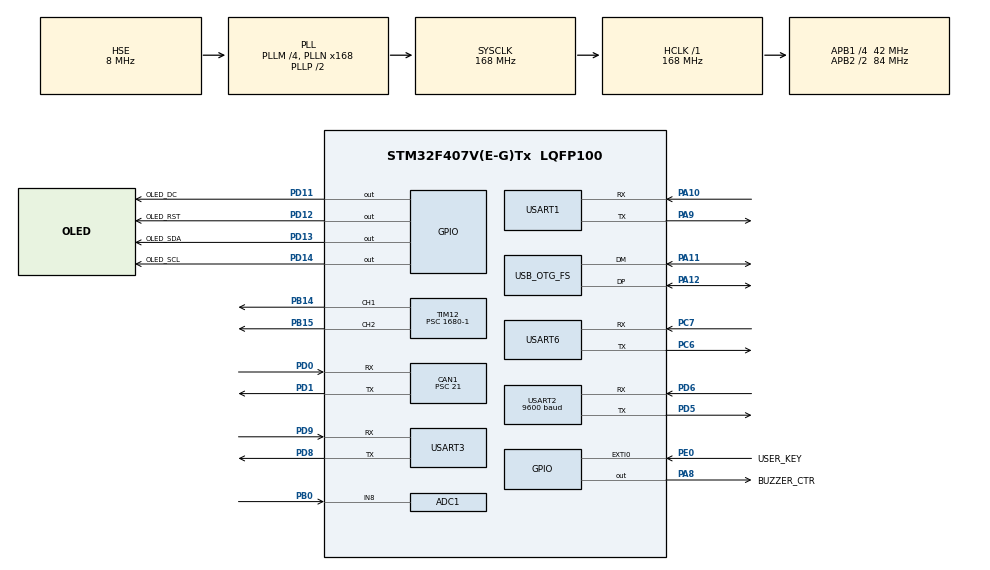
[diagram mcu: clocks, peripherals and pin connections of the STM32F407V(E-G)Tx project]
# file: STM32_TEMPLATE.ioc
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ADC1.Channel-0\#ChannelRegularConversion=ADC_CHANNEL_8
ADC1.ContinuousConvMode=ENABLE
ADC1.NbrOfConversionFlag=1
ADC1.Rank-0\#ChannelRegularConversion=1
ADC1.SamplingTime-0\#ChannelRegularConversion=ADC_SAMPLETIME_3CYCLES
ADC1.master=1
CAN1.BS1=CAN_BS1_6TQ
CAN1.CalculateTimeQuantum=500.0
CAN1.Mode=CAN_MODE_NORMAL
CAN1.Prescaler=21
Mcu.Family=STM32F4
Mcu.Name=STM32F407V(E-G)Tx
Mcu.Package=LQFP100
NVIC.CAN1_RX0_IRQn=true\:0\:1\:true\:false\:true\:true\:true
NVIC.EXTI0_IRQn=true\:0\:0\:true\:false\:true\:true\:true
NVIC.PriorityGroup=NVIC_PRIORITYGROUP_2
NVIC.TIM3_IRQn=true\:0\:0\:true\:false\:true\:true\:true
NVIC.USART1_IRQn=true\:0\:0\:true\:false\:true\:true\:true
NVIC.USART2_IRQn=true\:0\:1\:true\:false\:true\:true\:true
NVIC.USART3_IRQn=true\:0\:2\:true\:false\:true\:true\:true
NVIC.USART6_IRQn=true\:0\:3\:false\:false\:true\:true\:true
PA10.Mode=Asynchronous
PA10.Signal=USART1_RX
PA12.Mode=Host_Only
PA12.Signal=USB_OTG_FS_DP
PA11.Mode=Host_Only
PA11.Signal=USB_OTG_FS_DM
PA13.Mode=Serial_Wire
PA13.Signal=SYS_JTMS-SWDIO
PA14.Mode=Serial_Wire
PA14.Signal=SYS_JTCK-SWCLK
PA8.GPIO_Label=BUZZER_CTR
PA8.Signal=GPIO_Output
PA9.Mode=Asynchronous
PA9.Signal=USART1_TX
PB0.Signal=ADCx_IN8
PB14.Signal=S_TIM12_CH1
PB15.Signal=S_TIM12_CH2
PC6.Mode=Asynchronous
PC6.Signal=USART6_TX
PC7.Mode=Asynchronous
PC7.Signal=USART6_RX
PD0.Mode=Master
PD0.Signal=CAN1_RX
PD1.Mode=Master
PD1.Signal=CAN1_TX
PD11.GPIO_Label=OLED_DC
PD11.GPIO_PuPd=GPIO_NOPULL
PD11.PinState=GPIO_PIN_SET
PD11.Signal=GPIO_Output
PD12.GPIO_Label=OLED_RST
PD12.GPIO_PuPd=GPIO_NOPULL
PD12.PinState=GPIO_PIN_SET
PD12.Signal=GPIO_Output
PD13.GPIO_Label=OLED_SDA
PD13.GPIO_PuPd=GPIO_NOPULL
PD13.PinState=GPIO_PIN_SET
PD13.Signal=GPIO_Output
PD14.GPIO_Label=OLED_SCL
PD14.GPIO_PuPd=GPIO_NOPULL
PD14.PinState=GPIO_PIN_SET
PD14.Signal=GPIO_Output
PD5.Mode=Asynchronous
PD5.Signal=USART2_TX
PD6.Mode=Asynchronous
PD6.Signal=USART2_RX
PD8.Mode=Asynchronous
PD8.Signal=USART3_TX
PD9.Mode=Asynchronous
PD9.Signal=USART3_RX
PE0.GPIO_Label=USER_KEY
PE0.GPIO_ModeDefaultEXTI=GPIO_MODE_IT_FALLING
PE0.GPIO_PuPd=GPIO_PULLUP
PE0.Signal=GPXTI0
PH0-OSC_IN.Mode=HSE-External-Oscillator
PH0-OSC_IN.Signal=RCC_OSC_IN
PH1-OSC_OUT.Mode=HSE-External-Oscillator
PH1-OSC_OUT.Signal=RCC_OSC_OUT
ProjectManager.HeapSize=0x200
ProjectManager.StackSize=0x400
ProjectManager.TargetToolchain=MDK-ARM V5.27
RCC.48MHZClocksFreq_Value=48000000
RCC.AHBFreq_Value=168000000
RCC.APB1CLKDivider=RCC_HCLK_DIV4
RCC.APB1Freq_Value=42000000
RCC.APB1TimFreq_Value=84000000
RCC.APB2CLKDivider=RCC_HCLK_DIV2
RCC.APB2Freq_Value=84000000
RCC.APB2TimFreq_Value=168000000
RCC.CortexFreq_Value=168000000
RCC.HCLKFreq_Value=168000000
RCC.HSE_VALUE=8000000
RCC.HSI_VALUE=16000000
RCC.LSE_VALUE=32768
RCC.PLLM=4
RCC.PLLN=168
RCC.PLLQ=7
RCC.PLLSourceVirtual=RCC_PLLSOURCE_HSE
RCC.SYSCLKFreq_VALUE=168000000
RCC.SYSCLKSource=RCC_SYSCLKSOURCE_PLLCLK
RCC.VCOOutputFreq_Value=336000000
SH.ADCx_IN8.0=ADC1_IN8,IN8
SH.S_TIM12_CH1.0=TIM12_CH1,PWM Generation1 CH1
SH.S_TIM12_CH2.0=TIM12_CH2,PWM Generation2 CH2
TIM12.AutoReloadPreload=TIM_AUTORELOAD_PRELOAD_ENABLE
TIM12.Channel-PWM\ Generation1\ CH1=TIM_CHANNEL_1
TIM12.Channel-PWM\ Generation2\ CH2=TIM_CHANNEL_2
TIM12.OCPolarity_1=TIM_OCPOLARITY_HIGH
TIM12.OCPolarity_2=TIM_OCPOLARITY_HIGH
TIM12.Period=1999
TIM12.Prescaler=1680-1
TIM3.AutoReloadPreload=TIM_AUTORELOAD_PRELOAD_ENABLE
TIM3.Period=250-1
TIM3.Prescaler=16800-1
USART1.VirtualMode=VM_ASYNC
USART2.BaudRate=9600
USART2.VirtualMode=VM_ASYNC
USART3.VirtualMode=VM_ASYNC
USART6.VirtualMode=VM_ASYNC
USB_OTG_FS.VirtualMode=Host_Only
VP_TIM12_VS_ClockSourceINT.Mode=Internal
VP_TIM3_VS_ClockSourceINT.Mode=Internal
board=custom

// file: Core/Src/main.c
/* USER CODE BEGIN Header */
/**
  ******************************************************************************
  * @file           : main.c
  * @brief          : Main program body
  ******************************************************************************
  * @attention
  *
  * <h2><center>&copy; Copyright (c) 2025 STMicroelectronics.
  * All rights reserved.</center></h2>
  *
  * This software component is licensed by ST under BSD 3-Clause license,
  * the "License"; You may not use this file except in compliance with the
  * License. You may obtain a copy of the License at:
  *                        opensource.org/licenses/BSD-3-Clause
  *
  ******************************************************************************
  */
/* USER CODE END Header */

#include "main.h"
#include "adc.h"
#include "can.h"
#include "tim.h"
#include "usart.h"
#include "gpio.h"

/* USER CODE BEGIN Includes */
#include "oled.h"
#include "adc.h"
#include "led.h"
#include "common.h"
#include "service.h"
#include "ps2.h"
#include "chassis_control.h"
//#include "string.h"
/* USER CODE END Includes */

/* USER CODE BEGIN PV */
//uint8_t receiveData[50];
/* USER CODE END PV */

void SystemClock_Config(void);

int main(void)
{

  /* MCU Configuration--------------------------------------------------------*/

  /* Reset of all peripherals, Initializes the Flash interface and the Systick. */
  HAL_Init();

  /* Configure the system clock */
  SystemClock_Config();

  /* USER CODE BEGIN SysInit */
	//HAL_NVIC_SetPriority(SysTick_IRQn,0,0);

  /* USER CODE END SysInit */

  /* Initialize all configured peripherals */
  MX_GPIO_Init();
  MX_USART1_UART_Init();
  MX_ADC1_Init();
#if !PS2_USB_ONLY_TEST
  MX_CAN1_Init();
#endif
  MX_USART2_UART_Init();
  MX_USART3_UART_Init();
  MX_USART6_UART_Init();
  MX_TIM3_Init();
  MX_TIM12_Init();
  /* USER CODE BEGIN 2 */

#if !PS2_USB_ONLY_TEST
	can_filterconfig_and_init();
#endif
	Adc_POWER_Init();
	OLED_Init();
	__HAL_UART_ENABLE_IT(&huart3, UART_IT_ERR);
	__HAL_UART_ENABLE_IT(&huart2, UART_IT_ERR);
	__HAL_UART_ENABLE_IT(&huart6, UART_IT_ERR);

	HAL_UART_Receive_IT(&huart6, &USARTIM948_Receiver, 1);
	HAL_UART_Receive_IT(&huart3, &USARTROS_Receiver, 1);
	HAL_UART_Receive_IT(&huart2, &USARTNFC_Receiver, 1);
#if PS2_USB_ONLY_TEST
	printf("\r\n========== USB ONLY TEST BUILD ==========\r\n");
	printf("CAN1 initialization and all CAN traffic are disabled.\r\n");
#else
	printf("\r\n========== NORMAL PS2/ROS + CAN BUILD ==========\r\n");
#endif
	//HAL_TIM_Base_Start_IT(&htim3);
	im948Init(&huart6);
	//uint8_t sendCount = 0;

	//CAN1_Send(0x600, 8, max_rev_cmmd);
	//CAN1_Send(0x600, 8, min_rev_cmmd);
	control_cmmd[5] = 0;
	control_cmmd[4] = 0;
#if !PS2_USB_ONLY_TEST
	CAN1_Send(0x600, 8, control_cmmd);
#endif
	ChassisControl_Init();

	HAL_GPIO_WritePin(BUZZER_CTR_GPIO_Port, BUZZER_CTR_Pin, GPIO_PIN_SET);
	HAL_Delay(3000);
	HAL_GPIO_WritePin(BUZZER_CTR_GPIO_Port, BUZZER_CTR_Pin, GPIO_PIN_RESET);
	HAL_TIM_Base_Start_IT(&htim3);
	HAL_TIM_Base_Start_IT(&htim12);
	Service_Init();
	PS2_Init();

	//Service_SetAngle(0, 90);

  /* USER CODE END 2 */

  /* Infinite loop */
  while (1)
  {

    /* USER CODE BEGIN 3 */
		PS2_Task();
#if !PS2_USB_ONLY_TEST
		CAN_FeedbackTask();
#endif
		//printf("Lvel=%d,Rvel=%d\r\n",leftSpeedSet, rightSpeedSet);
		//usartSendData(&huart3, sendCtrlFlag);
		//usartSendData(&huart2, sendCtrlFlag);

		//printf("Lvel=%d,Rvel=%d\r\n",leftVelNow.d, rightVelNow.d);
		//printf("Lvel=%d,Rvel=%d\r\n",leftVel_Data, rightVel_Data);

		//printf("ok\r\n");

		/*if(status)
		{
			if(left_status==0x02)
			{
				leftVelNow.d = (int32_t)(-1000.0f*(leftVel_Data* wheel_perimeter) / 60.0f);
			}
			else
			{
				leftVelNow.d  = (int32_t)(1000.0f*(leftVel_Data* wheel_perimeter) / 60.0f );
			}

			if(right_status==0x02)
			{
				rightVelNow.d = (int32_t)((-1000.0f*rightVel_Data* wheel_perimeter) / 60.0f );
			}
			else
			{
				rightVelNow.d = (int32_t)((1000.0f*rightVel_Data* wheel_perimeter) / 60.0f );
			}
			printf("Lvel=%d,Rvel=%d\r\n",leftVelNow.d, rightVelNow.d);
			status = 0;
		}*/
		//Service_SetAngle(90, 90);
		//Service_SetAngle(service1, service2);
		voltageNow.d = (int16_t)(100.f*Get_battery_volt());
		usartSendData(&huart3, sendCtrlFlag);
		usartSendData(&huart2, sendCtrlFlag);

		leftVel = (float)leftVelNow.d / 1000.0f;
		rightVel = (float)rightVelNow.d / 1000.0f;
		//rightVel = (float)(((rightVelNow.data[1])<<8|rightVelNow.data[0])) / 1000.0f;

		//printf("Lvel=%f,Rvel=%f\r\n",leftVel, rightVel);

		//printf("%xd,%xd,%xd\r\n",rightVelNow.data[2],rightVelNow.data[1],rightVelNow.data[0]);

		//UnionData32 temp={.d=-5000};

		//printf("%d\r\n",temp.d);

		//printf("%xd,%xd,%xd\r\n",temp.data[2],temp.data[1],temp.data[0]);
		//printf("%d\r\n",(temp.data[3]<<24|temp.data[2]<<16|temp.data[1]<<8|temp.data[0]));

		pitch = (float)(pitchNow.d * 0.0054931640625f);
		roll = (float)(rollNow.d * 0.0054931640625f);
		yaw = (float)(yawNow.d * 0.0054931640625f);

		OLED_ShowString(0, 0, (uint8_t* )"Picking Robot");
		OLED_Show(0,10, (uint8_t* )"L:", 2, leftVel);
		OLED_ShowNumber(84,10,leftSpeedSet);
		OLED_Show(0,20, (uint8_t* )"R:",2, rightVel);
		OLED_ShowNumber(84,20,rightSpeedSet);
		OLED_Show(0,30, (uint8_t* )"Pitch:", 7, pitch);
		OLED_Show(0,40, (uint8_t* )"Roll:", 7, roll);
		OLED_Show(0,50, (uint8_t* )"Yaw:", 7, yaw);
		OLED_Refresh_Gram();

		  Led_Flash(200);

		  //HAL_Delay(50);

		}
  /* USER CODE END 3 */
}

void SystemClock_Config(void)
{
  RCC_OscInitTypeDef RCC_OscInitStruct = {0};
  RCC_ClkInitTypeDef RCC_ClkInitStruct = {0};

  /** Configure the main internal regulator output voltage
  */
  __HAL_RCC_PWR_CLK_ENABLE();
  __HAL_PWR_VOLTAGESCALING_CONFIG(PWR_REGULATOR_VOLTAGE_SCALE1);
  /** Initializes the CPU, AHB and APB busses clocks
  */
  RCC_OscInitStruct.OscillatorType = RCC_OSCILLATORTYPE_HSE;
  RCC_OscInitStruct.HSEState = RCC_HSE_ON;
  RCC_OscInitStruct.PLL.PLLState = RCC_PLL_ON;
  RCC_OscInitStruct.PLL.PLLSource = RCC_PLLSOURCE_HSE;
  RCC_OscInitStruct.PLL.PLLM = 4;
  RCC_OscInitStruct.PLL.PLLN = 168;
  RCC_OscInitStruct.PLL.PLLP = RCC_PLLP_DIV2;
  /* USB OTG FS requires 48 MHz: 336 MHz / 7 = 48 MHz. */
  RCC_OscInitStruct.PLL.PLLQ = 7;
  if (HAL_RCC_OscConfig(&RCC_OscInitStruct) != HAL_OK)
  {
    Error_Handler();
  }
  /** Initializes the CPU, AHB and APB busses clocks
  */
  RCC_ClkInitStruct.ClockType = RCC_CLOCKTYPE_HCLK|RCC_CLOCKTYPE_SYSCLK
                              |RCC_CLOCKTYPE_PCLK1|RCC_CLOCKTYPE_PCLK2;
  RCC_ClkInitStruct.SYSCLKSource = RCC_SYSCLKSOURCE_PLLCLK;
  RCC_ClkInitStruct.AHBCLKDivider = RCC_SYSCLK_DIV1;
  RCC_ClkInitStruct.APB1CLKDivider = RCC_HCLK_DIV4;
  RCC_ClkInitStruct.APB2CLKDivider = RCC_HCLK_DIV2;

  if (HAL_RCC_ClockConfig(&RCC_ClkInitStruct, FLASH_LATENCY_5) != HAL_OK)
  {
    Error_Handler();
  }
}

void Error_Handler(void)
{
}

/************************ (C) COPYRIGHT STMicroelectronics *****END OF FILE****/
